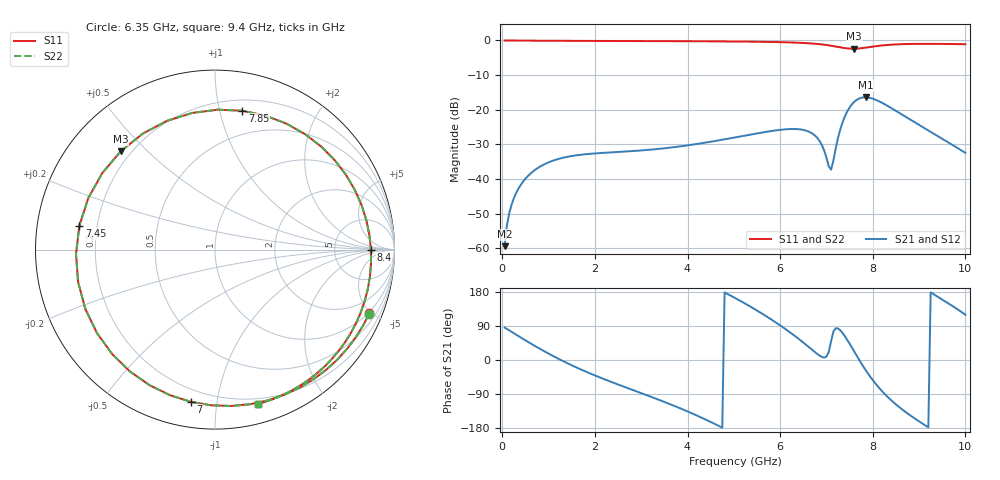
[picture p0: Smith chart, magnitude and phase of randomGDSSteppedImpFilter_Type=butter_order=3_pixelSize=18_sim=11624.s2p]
! freq	dB(S11)	phase(S11)	dB(S12)	phase(S12)
!  dB(S21)	phase(S21)	dB(S22)	phase(S22)
!S-par simulation data
#  GHz  S  DB  R 50
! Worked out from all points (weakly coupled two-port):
!   200 points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, 50 MHz to 10 GHz, reference 50 ohm
!   highest |S21| = -16.42 dB at 7.85 GHz (marker M1); lowest = -59.4 dB at 50 MHz (marker M2)
!   lowest |S11| = -2.4 dB at 7.6 GHz (marker M3), VSWR 7.29, Z = 8.08 + j20.9 ohm
!   |S11| at or under -10 dB: nowhere
!   |S22| runs from -2.4 to 0.0 dB; largest |S21 - S12| = 0
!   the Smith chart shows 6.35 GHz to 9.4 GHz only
!   S11 on the Smith chart (normalised r, x): 6.35 GHz: 0.92, -4.87; 7 GHz: 0.13, -0.85; 7.45 GHz: 0.13, +0.09; 7.85 GHz: 0.29, +1.17; 8.4 GHz: 14, -0; 9.4 GHz: 0.15, -1.30
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0.05  -0.00 -3.9  -59.40 85.7  -59.40 85.7  -0.00 -3.9
0.2  -0.02 -15.5  -47.44 74.4  -47.44 74.4  -0.02 -15.5
0.5  -0.05 -38.1  -39.92 51.8  -39.92 51.8  -0.05 -38.1
1.1  -0.10 -80.3  -34.68 10.3  -34.68 10.3  -0.10 -80.3
1.75  -0.13 -120.2  -32.92 -27.8  -32.92 -27.8  -0.13 -120.2
2.55  -0.15 -162.6  -32.16 -67.0  -32.16 -67.0  -0.15 -162.6
3.4  -0.19 156.0  -31.28 -105.9  -31.28 -105.9  -0.19 156.0
4.3  -0.24 111.3  -29.69 -151.9  -29.69 -151.9  -0.24 111.2
5.05  -0.31 69.9  -27.94 162.1  -27.94 162.1  -0.31 69.9
5.8  -0.43 21.5  -26.18 107.6  -26.18 107.6  -0.43 21.4
6.35  -0.63 -22.5  -25.58 60.5  -25.58 60.5  -0.63 -22.6
6.7  -0.89 -58.3  -26.92 26.0  -26.92 26.0  -0.89 -58.5
7  -1.32 -98.9  -33.86 8.9  -33.86 8.9  -1.32 -99.2
7.1  -1.53 -115.7  -37.31 49.7  -37.31 49.7  -1.53 -116.0
7.45  -2.30 170.0  -20.48 52.9  -20.48 52.9  -2.30 169.6
7.6  -2.40 133.8  -17.72 22.2  -17.72 22.2  -2.39 133.5
7.85  -2.07 78.9  -16.42 -27.4  -16.42 -27.4  -2.06 78.7
8.35  -1.27 5.3  -19.13 -100.8  -19.13 -100.8  -1.27 5.2
8.4  -1.22 -0.0  -19.52 -106.5  -19.52 -106.5  -1.22 -0.1
8.9  -1.00 -42.8  -23.58 -153.9  -23.58 -153.9  -1.00 -42.9
9.4  -0.99 -74.5  -27.59 167.1  -27.59 167.1  -0.99 -74.6
10  -1.10 -105.9  -32.46 119.4  -32.46 119.4  -1.10 -105.9
